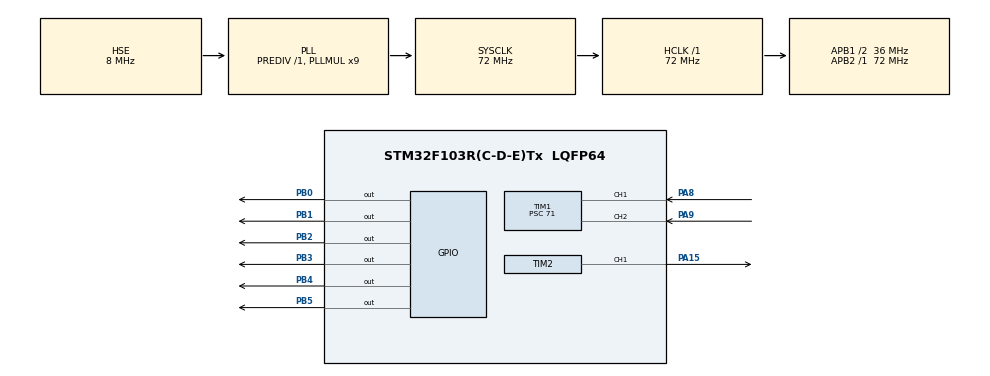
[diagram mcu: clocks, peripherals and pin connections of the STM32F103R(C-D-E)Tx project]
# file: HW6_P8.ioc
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Dma.Request0=TIM1_CH1
Dma.TIM1_CH1.0.Direction=DMA_PERIPH_TO_MEMORY
Dma.TIM1_CH1.0.Instance=DMA1_Channel2
Dma.TIM1_CH1.0.MemDataAlignment=DMA_MDATAALIGN_HALFWORD
Dma.TIM1_CH1.0.MemInc=DMA_MINC_ENABLE
Dma.TIM1_CH1.0.Mode=DMA_NORMAL
Dma.TIM1_CH1.0.PeriphDataAlignment=DMA_PDATAALIGN_HALFWORD
Dma.TIM1_CH1.0.PeriphInc=DMA_PINC_DISABLE
Dma.TIM1_CH1.0.Priority=DMA_PRIORITY_HIGH
Mcu.Family=STM32F1
Mcu.Name=STM32F103R(C-D-E)Tx
Mcu.Package=LQFP64
NVIC.DMA1_Channel2_IRQn=true\:0\:0\:false\:false\:true\:false\:true\:true
NVIC.PriorityGroup=NVIC_PRIORITYGROUP_4
NVIC.TIM1_CC_IRQn=true\:0\:0\:false\:false\:true\:true\:true\:true
NVIC.TIM1_UP_IRQn=true\:0\:0\:false\:false\:true\:true\:true\:true
PA13.Mode=Serial_Wire
PA13.Signal=SYS_JTMS-SWDIO
PA14.Mode=Serial_Wire
PA14.Signal=SYS_JTCK-SWCLK
PA15.GPIO_Speed=GPIO_SPEED_FREQ_HIGH
PA15.Signal=S_TIM2_CH1_ETR
PA8.Signal=S_TIM1_CH1
PA9.Signal=S_TIM1_CH2
PB0.Signal=GPIO_Output
PB1.Signal=GPIO_Output
PB2.Signal=GPIO_Output
PB3.Signal=GPIO_Output
PB4.Signal=GPIO_Output
PB5.Signal=GPIO_Output
PD0-OSC_IN.Mode=HSE-External-Oscillator
PD0-OSC_IN.Signal=RCC_OSC_IN
PD1-OSC_OUT.Mode=HSE-External-Oscillator
PD1-OSC_OUT.Signal=RCC_OSC_OUT
ProjectManager.HeapSize=0x200
ProjectManager.StackSize=0x400
ProjectManager.TargetToolchain=MDK-ARM V5.32
RCC.ADCPresc=RCC_ADCPCLK2_DIV6
RCC.AHBFreq_Value=72000000
RCC.APB1CLKDivider=RCC_HCLK_DIV2
RCC.APB1Freq_Value=36000000
RCC.APB1TimFreq_Value=72000000
RCC.APB2Freq_Value=72000000
RCC.APB2TimFreq_Value=72000000
RCC.HCLKFreq_Value=72000000
RCC.PLLMUL=RCC_PLL_MUL9
RCC.PLLSourceVirtual=RCC_PLLSOURCE_HSE
RCC.SYSCLKFreq_VALUE=72000000
RCC.SYSCLKSource=RCC_SYSCLKSOURCE_PLLCLK
RCC.USBFreq_Value=72000000
SH.S_TIM1_CH1.0=TIM1_CH1,Input_Capture1_from_TI1
SH.S_TIM1_CH2.0=TIM1_CH2,Input_Capture2_from_TI2
SH.S_TIM2_CH1_ETR.0=TIM2_CH1,PWM Generation1 CH1
TIM1.Channel-Input_Capture1_from_TI1=TIM_CHANNEL_1
TIM1.Channel-Input_Capture2_from_TI2=TIM_CHANNEL_2
TIM1.ICFilter_CH1=15
TIM1.ICPolarity_CH2=TIM_INPUTCHANNELPOLARITY_FALLING
TIM1.Prescaler=71
TIM2.AutoReloadPreload=TIM_AUTORELOAD_PRELOAD_ENABLE
TIM2.Channel-PWM\ Generation1\ CH1=TIM_CHANNEL_1
TIM2.Period=199
TIM2.Prescaler=71
TIM2.Pulse-PWM\ Generation1\ CH1=40
VP_TIM1_VS_ClockSourceINT.Mode=Internal
VP_TIM2_VS_ClockSourceINT.Mode=Internal
board=custom

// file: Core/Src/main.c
/* USER CODE BEGIN Header */
/**
  ******************************************************************************
  * @file           : main.c
  * @brief          : Main program body � Hybrid DMA + Polling for duty cycle
  ******************************************************************************
  * @attention
  *
  * Copyright (c) 2026 STMicroelectronics.
  * All rights reserved.
  *
  * This software is licensed under terms that can be found in the LICENSE file
  * in the root directory of this software component.
  * If no LICENSE file comes with this software, it is provided AS-IS.
  *
  ******************************************************************************
  */
/* USER CODE END Header */
#include "main.h"

/* USER CODE BEGIN Includes */
#include <stdio.h>
#include "lcd.h"
/* USER CODE END Includes */

TIM_HandleTypeDef htim1;
TIM_HandleTypeDef htim2;
DMA_HandleTypeDef hdma_tim1_ch1;

/* USER CODE BEGIN PV */
Lcd_HandleTypeDef lcd;

uint16_t rising_buf[2] = {0};      // two rising edges via DMA
char buffer[30];
float frequency = 0.0f;
float duty = 0.0f;
/* USER CODE END PV */

void SystemClock_Config(void);
static void MX_GPIO_Init(void);
static void MX_DMA_Init(void);
static void MX_TIM2_Init(void);
static void MX_TIM1_Init(void);

int main(void)
{

  /* MCU Configuration--------------------------------------------------------*/

  /* Reset of all peripherals, Initializes the Flash interface and the Systick. */
  HAL_Init();

  /* Configure the system clock */
  SystemClock_Config();

  /* Initialize all configured peripherals */
  MX_GPIO_Init();
  MX_DMA_Init();
  MX_TIM2_Init();
  MX_TIM1_Init();
  /* USER CODE BEGIN 2 */
  /* ---- LCD initialization ---- */
  Lcd_PortType ports[] = { GPIOB, GPIOB, GPIOB, GPIOB };
  Lcd_PinType pins[] = { GPIO_PIN_0, GPIO_PIN_1, GPIO_PIN_2, GPIO_PIN_3 };
  lcd = Lcd_create(ports, pins, GPIOB, GPIO_PIN_4, GPIOB, GPIO_PIN_5, LCD_4_BIT_MODE);
  Lcd_clear(&lcd);
  Lcd_cursor(&lcd, 0, 0);
  Lcd_string(&lcd, "Starting...");

  /* ---- Start PWM on TIM2 ---- */
  HAL_TIM_PWM_Start(&htim2, TIM_CHANNEL_1);

  /* ---- Start TIM1 counter and enable CH2 capture (polling) ---- */
  HAL_TIM_Base_Start(&htim1);
  HAL_TIM_IC_Start(&htim1, TIM_CHANNEL_2);   // enable CH2 capture (no DMA)

  HAL_Delay(100);
  /* USER CODE END 2 */

  /* Infinite loop */
  /* USER CODE BEGIN WHILE */
  while (1)
  {
    /* ---- 1) Measure period using DMA on CH1 (rising edges) ---- */
    __HAL_TIM_CLEAR_FLAG(&htim1, TIM_FLAG_CC1);
    HAL_TIM_IC_Start_DMA(&htim1, TIM_CHANNEL_1, (uint32_t*)rising_buf, 2);

    uint32_t startTick = HAL_GetTick();
    uint8_t dma_ok = 1;
    while (1) {
      if (__HAL_DMA_GET_COUNTER(htim1.hdma[TIM_DMA_ID_CC1]) == 0) break;
      if ((HAL_GetTick() - startTick) > 50) { dma_ok = 0; break; }
    }
    HAL_TIM_IC_Stop_DMA(&htim1, TIM_CHANNEL_1);

    if (!dma_ok) {
      Lcd_cursor(&lcd, 0, 0);
      Lcd_string(&lcd, "DMA timeout  ");
      HAL_Delay(250);
      continue;
    }

    uint32_t r0 = rising_buf[0];
    uint32_t r1 = rising_buf[1];
    uint32_t period_ticks;
    if (r1 > r0) period_ticks = r1 - r0;
    else         period_ticks = (r1 + 65536) - r0;   // handle overflow

    if (period_ticks == 0 || period_ticks >= 65536) {
      Lcd_cursor(&lcd, 0, 0);
      Lcd_string(&lcd, "Invalid period");
      HAL_Delay(250);
      continue;
    }

    /* ---- 2) Read falling edge by polling CH2 capture flag ---- */
    uint32_t pulse_ticks = 0;
    uint8_t fall_ok = 0;

    /* Wait for a falling edge, but with a timeout */
    uint32_t timeout = 10000;   // ~10 ms at 1 �s per loop (approx)
    while (timeout--) {
      if (__HAL_TIM_GET_FLAG(&htim1, TIM_FLAG_CC2)) {
        uint32_t ccr2 = HAL_TIM_ReadCapturedValue(&htim1, TIM_CHANNEL_2);
        /* The falling edge should be between r0 and r1 */
        if (ccr2 > r0 && ccr2 < r1) {
          pulse_ticks = ccr2 - r0;
          fall_ok = 1;
        } else {
          /* Invalid capture � ignore and clear flag */
          __HAL_TIM_CLEAR_FLAG(&htim1, TIM_FLAG_CC2);
          continue;
        }
        break;
      }
    }
    /* Clear flag to prepare for next cycle */
    __HAL_TIM_CLEAR_FLAG(&htim1, TIM_FLAG_CC2);

    /* ---- 3) Display results if valid ---- */
    if (fall_ok && pulse_ticks <= period_ticks) {
      frequency = 1000000.0f / (float)period_ticks;
      duty = ((float)pulse_ticks * 100.0f) / (float)period_ticks;

      Lcd_cursor(&lcd, 0, 0);
      sprintf(buffer, "F:%5luHz   ", (uint32_t)(frequency-25 + 0.5f));
      Lcd_string(&lcd, buffer);

      Lcd_cursor(&lcd, 1, 0);
      sprintf(buffer, "D:%2lu%%     ", (uint32_t)(duty + 0.5f));
      Lcd_string(&lcd, buffer);
    } else {
      Lcd_cursor(&lcd, 0, 0);
      Lcd_string(&lcd, "No fall edge  ");
      /* Optionally show raw values for debug */
      Lcd_cursor(&lcd, 1, 0);
      sprintf(buffer, "R0:%04lu R1:%04lu", r0, r1);
      Lcd_string(&lcd, buffer);
    }

    HAL_Delay(250);
    /* USER CODE END WHILE */

  }
}

void SystemClock_Config(void)
{
  RCC_OscInitTypeDef RCC_OscInitStruct = {0};
  RCC_ClkInitTypeDef RCC_ClkInitStruct = {0};

  /** Initializes the RCC Oscillators according to the specified parameters
  * in the RCC_OscInitTypeDef structure.
  */
  RCC_OscInitStruct.OscillatorType = RCC_OSCILLATORTYPE_HSE;
  RCC_OscInitStruct.HSEState = RCC_HSE_ON;
  RCC_OscInitStruct.HSEPredivValue = RCC_HSE_PREDIV_DIV1;
  RCC_OscInitStruct.HSIState = RCC_HSI_ON;
  RCC_OscInitStruct.PLL.PLLState = RCC_PLL_ON;
  RCC_OscInitStruct.PLL.PLLSource = RCC_PLLSOURCE_HSE;
  RCC_OscInitStruct.PLL.PLLMUL = RCC_PLL_MUL9;
  if (HAL_RCC_OscConfig(&RCC_OscInitStruct) != HAL_OK)
  {
    Error_Handler();
  }

  /** Initializes the CPU, AHB and APB buses clocks
  */
  RCC_ClkInitStruct.ClockType = RCC_CLOCKTYPE_HCLK|RCC_CLOCKTYPE_SYSCLK
                              |RCC_CLOCKTYPE_PCLK1|RCC_CLOCKTYPE_PCLK2;
  RCC_ClkInitStruct.SYSCLKSource = RCC_SYSCLKSOURCE_PLLCLK;
  RCC_ClkInitStruct.AHBCLKDivider = RCC_SYSCLK_DIV1;
  RCC_ClkInitStruct.APB1CLKDivider = RCC_HCLK_DIV2;
  RCC_ClkInitStruct.APB2CLKDivider = RCC_HCLK_DIV1;

  if (HAL_RCC_ClockConfig(&RCC_ClkInitStruct, FLASH_LATENCY_2) != HAL_OK)
  {
    Error_Handler();
  }
}

static void MX_TIM1_Init(void)
{

  TIM_ClockConfigTypeDef sClockSourceConfig = {0};
  TIM_MasterConfigTypeDef sMasterConfig = {0};
  TIM_IC_InitTypeDef sConfigIC = {0};

  htim1.Instance = TIM1;
  htim1.Init.Prescaler = 71;
  htim1.Init.CounterMode = TIM_COUNTERMODE_UP;
  htim1.Init.Period = 65535;
  htim1.Init.ClockDivision = TIM_CLOCKDIVISION_DIV1;
  htim1.Init.RepetitionCounter = 0;
  htim1.Init.AutoReloadPreload = TIM_AUTORELOAD_PRELOAD_DISABLE;
  if (HAL_TIM_Base_Init(&htim1) != HAL_OK)
  {
    Error_Handler();
  }
  sClockSourceConfig.ClockSource = TIM_CLOCKSOURCE_INTERNAL;
  if (HAL_TIM_ConfigClockSource(&htim1, &sClockSourceConfig) != HAL_OK)
  {
    Error_Handler();
  }
  if (HAL_TIM_IC_Init(&htim1) != HAL_OK)
  {
    Error_Handler();
  }
  sMasterConfig.MasterOutputTrigger = TIM_TRGO_RESET;
  sMasterConfig.MasterSlaveMode = TIM_MASTERSLAVEMODE_DISABLE;
  if (HAL_TIMEx_MasterConfigSynchronization(&htim1, &sMasterConfig) != HAL_OK)
  {
    Error_Handler();
  }
  sConfigIC.ICPolarity = TIM_INPUTCHANNELPOLARITY_RISING;
  sConfigIC.ICSelection = TIM_ICSELECTION_DIRECTTI;
  sConfigIC.ICPrescaler = TIM_ICPSC_DIV1;
  sConfigIC.ICFilter = 15;
  if (HAL_TIM_IC_ConfigChannel(&htim1, &sConfigIC, TIM_CHANNEL_1) != HAL_OK)
  {
    Error_Handler();
  }
  sConfigIC.ICPolarity = TIM_INPUTCHANNELPOLARITY_FALLING;
  sConfigIC.ICFilter = 0;
  if (HAL_TIM_IC_ConfigChannel(&htim1, &sConfigIC, TIM_CHANNEL_2) != HAL_OK)
  {
    Error_Handler();
  }

}

static void MX_TIM2_Init(void)
{

  TIM_ClockConfigTypeDef sClockSourceConfig = {0};
  TIM_MasterConfigTypeDef sMasterConfig = {0};
  TIM_OC_InitTypeDef sConfigOC = {0};

  htim2.Instance = TIM2;
  htim2.Init.Prescaler = 71;
  htim2.Init.CounterMode = TIM_COUNTERMODE_UP;
  htim2.Init.Period = 199;
  htim2.Init.ClockDivision = TIM_CLOCKDIVISION_DIV1;
  htim2.Init.AutoReloadPreload = TIM_AUTORELOAD_PRELOAD_ENABLE;
  if (HAL_TIM_Base_Init(&htim2) != HAL_OK)
  {
    Error_Handler();
  }
  sClockSourceConfig.ClockSource = TIM_CLOCKSOURCE_INTERNAL;
  if (HAL_TIM_ConfigClockSource(&htim2, &sClockSourceConfig) != HAL_OK)
  {
    Error_Handler();
  }
  if (HAL_TIM_PWM_Init(&htim2) != HAL_OK)
  {
    Error_Handler();
  }
  sMasterConfig.MasterOutputTrigger = TIM_TRGO_RESET;
  sMasterConfig.MasterSlaveMode = TIM_MASTERSLAVEMODE_DISABLE;
  if (HAL_TIMEx_MasterConfigSynchronization(&htim2, &sMasterConfig) != HAL_OK)
  {
    Error_Handler();
  }
  sConfigOC.OCMode = TIM_OCMODE_PWM1;
  sConfigOC.Pulse = 40;
  sConfigOC.OCPolarity = TIM_OCPOLARITY_HIGH;
  sConfigOC.OCFastMode = TIM_OCFAST_DISABLE;
  if (HAL_TIM_PWM_ConfigChannel(&htim2, &sConfigOC, TIM_CHANNEL_1) != HAL_OK)
  {
    Error_Handler();
  }
  HAL_TIM_MspPostInit(&htim2);

}

static void MX_DMA_Init(void)
{

  /* DMA controller clock enable */
  __HAL_RCC_DMA1_CLK_ENABLE();

  /* DMA interrupt init */
  /* DMA1_Channel2_IRQn interrupt configuration */
  HAL_NVIC_SetPriority(DMA1_Channel2_IRQn, 0, 0);
  HAL_NVIC_EnableIRQ(DMA1_Channel2_IRQn);

}

static void MX_GPIO_Init(void)
{
  GPIO_InitTypeDef GPIO_InitStruct = {0};

  /* GPIO Ports Clock Enable */
  __HAL_RCC_GPIOD_CLK_ENABLE();
  __HAL_RCC_GPIOB_CLK_ENABLE();
  __HAL_RCC_GPIOA_CLK_ENABLE();

  /*Configure GPIO pin Output Level */
  HAL_GPIO_WritePin(GPIOB, GPIO_PIN_0|GPIO_PIN_1|GPIO_PIN_2|GPIO_PIN_3
                          |GPIO_PIN_4|GPIO_PIN_5, GPIO_PIN_RESET);

  /*Configure GPIO pins : PB0 PB1 PB2 PB3
                           PB4 PB5 */
  GPIO_InitStruct.Pin = GPIO_PIN_0|GPIO_PIN_1|GPIO_PIN_2|GPIO_PIN_3
                          |GPIO_PIN_4|GPIO_PIN_5;
  GPIO_InitStruct.Mode = GPIO_MODE_OUTPUT_PP;
  GPIO_InitStruct.Pull = GPIO_NOPULL;
  GPIO_InitStruct.Speed = GPIO_SPEED_FREQ_LOW;
  HAL_GPIO_Init(GPIOB, &GPIO_InitStruct);

}

void Error_Handler(void)
{
  __disable_irq();
  while (1)
  {
  }
}
